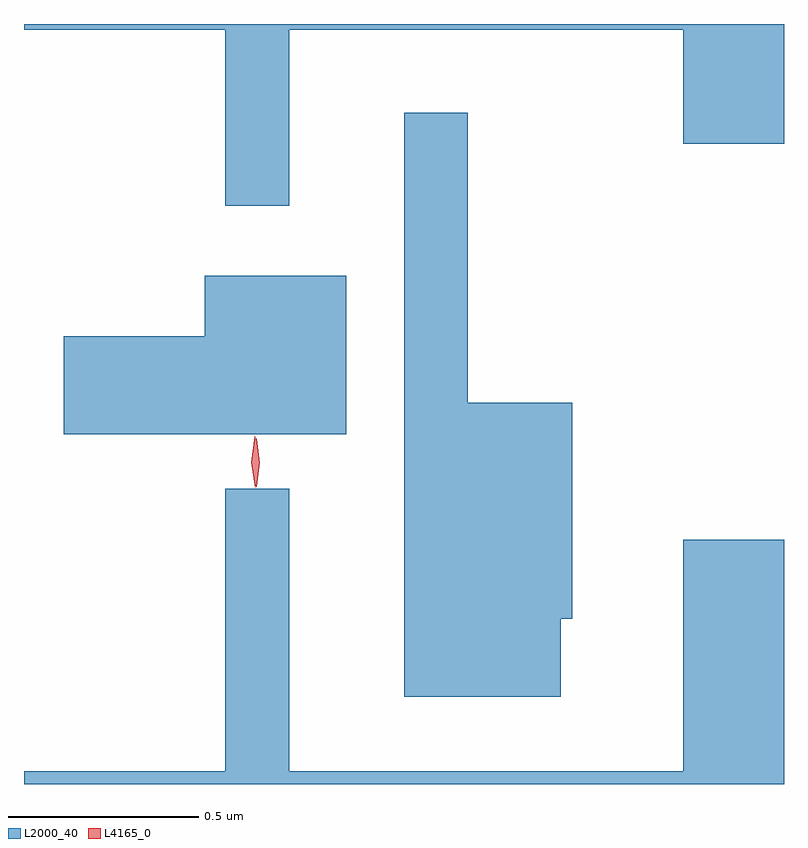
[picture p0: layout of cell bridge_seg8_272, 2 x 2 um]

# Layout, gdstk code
import gdstk
lib = gdstk.Library(unit=1e-6, precision=1e-09)
def P(c, l, *ps):  # polygons
    for p in ps: c.add(gdstk.Polygon(p, *l))
L2000_40 = (2000, 40)
L4165_0 = (4165, 0)

bridge_seg8_272 = lib.new_cell('bridge_seg8_272')
P(bridge_seg8_272, L2000_40, [(1233.019,1831.976),(1234.056,1831.976),(1234.056,1831.676),(1234.321,1831.676),(1234.321,1831.991),(1232.321,1831.991),(1232.321,1831.976),(1232.851,1831.976),(1232.851,1831.513),(1233.019,1831.513)],
  [(1233.734,1830.426),(1233.764,1830.426),(1233.764,1830.994),(1233.489,1830.994),(1233.489,1831.758),(1233.321,1831.758),(1233.321,1830.221),(1233.734,1830.221)],
  [(1233.169,1831.329),(1232.796,1831.329),(1232.796,1831.169),(1232.426,1831.169),(1232.426,1830.911),(1233.169,1830.911)],
  [(1234.321,1830.634),(1234.056,1830.634),(1234.056,1830.024),(1233.019,1830.024),(1233.019,1830.768),(1232.851,1830.768),(1232.851,1830.024),(1232.321,1830.024),(1232.321,1829.991),(1234.321,1829.991)])
P(bridge_seg8_272, L4165_0, [(1232.929,1830.77),(1232.919,1830.838),(1232.928,1830.905),(1232.928,1830.906),(1232.929,1830.905),(1232.939,1830.838),(1232.93,1830.77),(1232.93,1830.77)],
  [(1232.932,1830.773),(1232.932,1830.773),(1232.922,1830.836),(1232.932,1830.899),(1232.932,1830.9),(1232.933,1830.899),(1232.942,1830.836),(1232.933,1830.773)])

lib.write_gds('bridge_seg8_272.gds')
